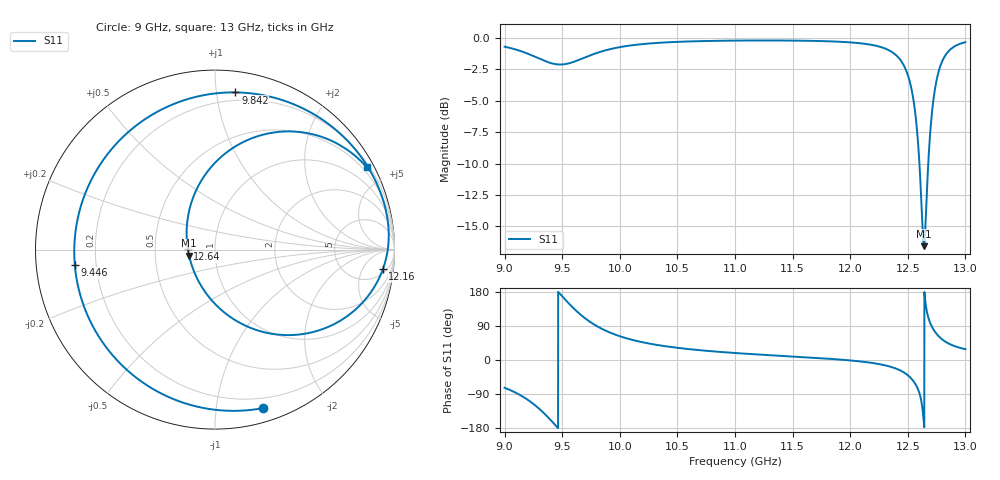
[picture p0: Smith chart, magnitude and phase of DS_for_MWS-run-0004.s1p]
! TOUCHSTONE file generated by CST DESIGN STUDIO
! Date and time: Tue Feb  4 14:32:41 2025
! Project name: C:\Work\MatlabApps\UnitCellOptimizationMatlab\CST\unitcell.cst
! Tree item: Tasks\Sweep1\SPara1\S-Parameters
! Header version: 2024
! Port assignment regex: !\s*Touchstone port\s*([0-9]+)\s*=\s*(CST MWS port|CST DES external port|CST DES block port)\s*(.+)\s* \(\"(.*)\"\)(\s*mode\s*([0-9]+))?.*
! Touchstone port assignment:
! Touchstone port 1 = CST DES external port 1 ("")
# GHz S MA R 50
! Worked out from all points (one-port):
!   4001 points, 9 GHz to 13 GHz, reference 50 ohm
!   lowest |S11| = -16.6 dB at 12.64 GHz (marker M1), VSWR 1.35, Z = 37.3 - j2.54 ohm
!   |S11| at or under -10 dB: 12.6 GHz to 12.68 GHz (76.55 MHz wide, 0.606 % of centre)
!   S11 on the Smith chart (normalised r, x): 9 GHz: 0.11, -1.34; 9.446 GHz: 0.12, -0.05; 9.842 GHz: 0.14, +1.13; 12.16 GHz: 7, -14; 12.64 GHz: 0.74, +0.00; 13 GHz: 0.32, +3.90
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9  0.9225 -73.3
9.138  0.8868 -93.1
9.244  0.8491 -114.6
9.339  0.8128 -139.6
9.446  0.7858 -173.7
9.5  0.7841 168.0
9.586  0.799 140.4
9.663  0.8238 118.8
9.745  0.8528 100.0
9.842  0.8832 82.6
10  0.9188 62.7
10.216  0.9466 45.7
10.5  0.9643 32.1
11  0.9756 18.5
11.5  0.9756 9.2
12  0.9598 -1.1
12.165  0.9417 -6.7
12.376  0.87 -20.3
12.5  0.7122 -40.2
12.577  0.4447 -69.6
12.607  0.2822 -93.9
12.64  0.1484 -167.0
12.644  0.1513 179.4
12.672  0.2819 118.9
12.704  0.4736 91.2
12.757  0.7027 66.4
12.859  0.8901 42.8
13  0.9613 28.6
